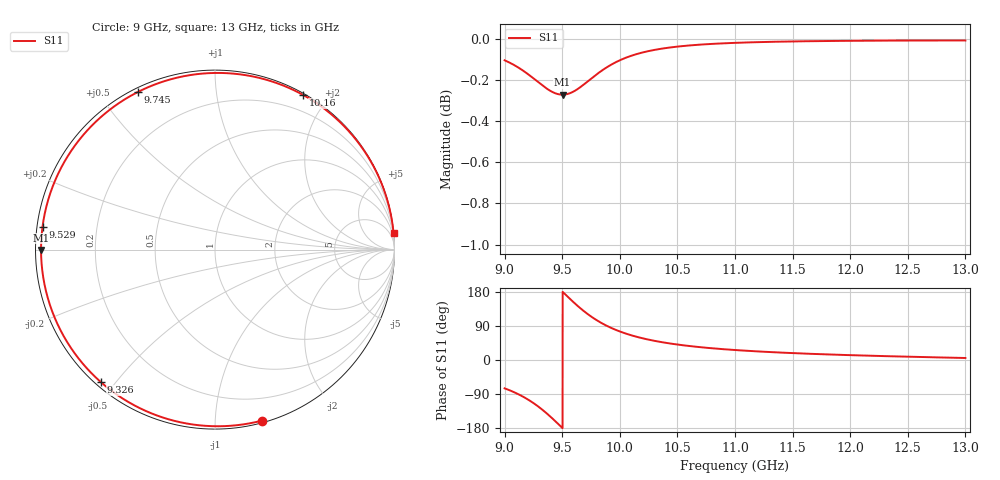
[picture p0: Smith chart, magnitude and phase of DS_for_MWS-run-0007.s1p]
! TOUCHSTONE file generated by CST DESIGN STUDIO
! Date and time: Tue Feb  4 12:28:42 2025
! Project name: C:\Work\MatlabApps\UnitCellOptimizationMatlab\CST\unitcell.cst
! Tree item: Tasks\Sweep1\SPara1\S-Parameters
! Header version: 2024
! Port assignment regex: !\s*Touchstone port\s*([0-9]+)\s*=\s*(CST MWS port|CST DES external port|CST DES block port)\s*(.+)\s* \(\"(.*)\"\)(\s*mode\s*([0-9]+))?.*
! Touchstone port assignment:
! Touchstone port 1 = CST DES external port 1 ("")
# GHz S MA R 50
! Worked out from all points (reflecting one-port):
!   4001 points, 9 GHz to 13 GHz, reference 50 ohm
!   lowest |S11| = -0.3 dB at 9.503 GHz (marker M1), VSWR 63.96, Z = 0.782 - j0.0505 ohm
!   phase of S11 starts at -75 deg and turns -280 deg over the sweep
!   S11 on the Smith chart (normalised r, x): 9 GHz: 0.02, -1.31; 9.326 GHz: 0.02, -0.46; 9.529 GHz: 0.02, +0.07; 9.745 GHz: 0.02, +0.62; 10.16 GHz: 0.02, +1.72; 13 GHz: 0, +22
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9  0.988 -74.8
9.087  0.9853 -85.6
9.189  0.9811 -101.8
9.26  0.9776 -115.7
9.326  0.9743 -130.8
9.372  0.9723 -142.6
9.421  0.9705 -156.0
9.461  0.9696 -167.5
9.5  0.9692 -179.0
9.503  0.9692 -179.9
9.529  0.9693 172.4
9.582  0.9704 157.1
9.642  0.9726 140.6
9.693  0.975 127.8
9.745  0.9776 116.0
9.797  0.9802 105.5
9.855  0.9828 95.3
9.927  0.9857 84.4
10  0.988 75.3
10.157  0.9917 60.4
10.313  0.9939 49.9
10.5  0.9956 40.8
10.722  0.9968 33.1
11  0.9977 26.3
11.5  0.9985 18.2
12  0.9989 12.8
12.5  0.999 8.7
13  0.9991 5.3
